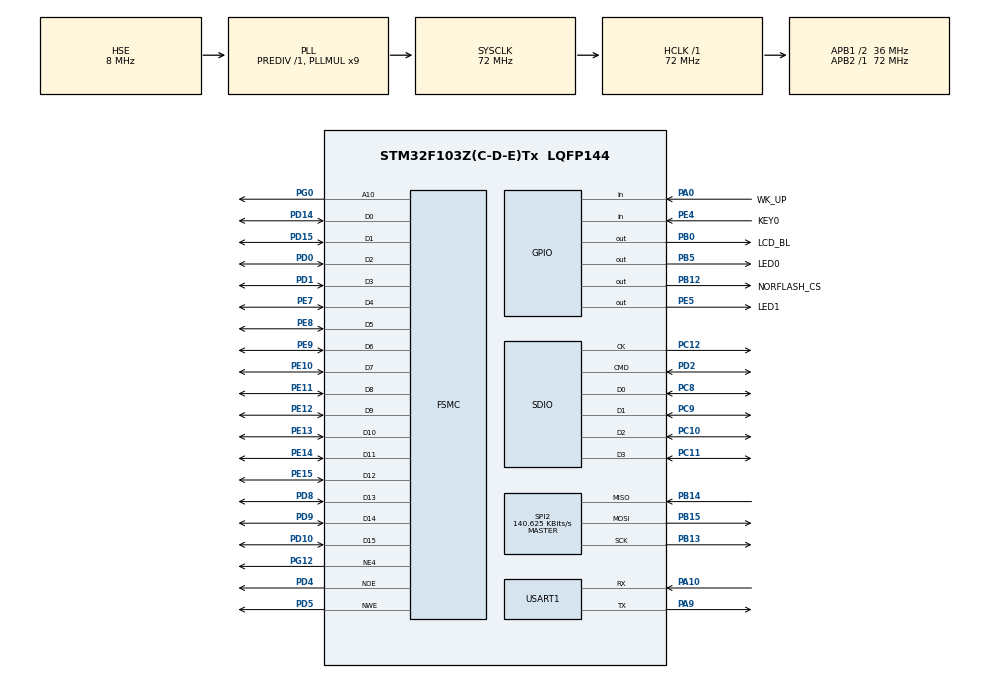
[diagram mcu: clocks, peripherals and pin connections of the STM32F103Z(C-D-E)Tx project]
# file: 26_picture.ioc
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FATFS._CODE_PAGE=936
FATFS._USE_LABEL=1
FATFS._USE_LFN=3
FSMC.AddressSetupTime1=0
FSMC.DataSetupTime1=15
FSMC.ExtendedAddressSetupTime1=0
FSMC.ExtendedDataSetupTime1=1
FSMC.ExtendedMode1=FSMC_EXTENDED_MODE_ENABLE
Mcu.Family=STM32F1
Mcu.Name=STM32F103Z(C-D-E)Tx
Mcu.Package=LQFP144
NVIC.PriorityGroup=NVIC_PRIORITYGROUP_2
NVIC.USART1_IRQn=true\:2\:2\:true\:false\:true\:true\:true\:true
OSC_IN.Mode=HSE-External-Oscillator
OSC_IN.Signal=RCC_OSC_IN
OSC_OUT.Mode=HSE-External-Oscillator
OSC_OUT.Signal=RCC_OSC_OUT
PA0-WKUP.GPIO_Label=WK_UP
PA0-WKUP.GPIO_PuPd=GPIO_PULLDOWN
PA0-WKUP.Signal=GPIO_Input
PA10.Mode=Asynchronous
PA10.Signal=USART1_RX
PA13.Mode=Serial_Wire
PA13.Signal=SYS_JTMS-SWDIO
PA14.Mode=Serial_Wire
PA14.Signal=SYS_JTCK-SWCLK
PA9.Mode=Asynchronous
PA9.Signal=USART1_TX
PB0.GPIO_Label=LCD_BL
PB0.GPIO_PuPd=GPIO_PULLUP
PB0.GPIO_Speed=GPIO_SPEED_FREQ_HIGH
PB0.PinState=GPIO_PIN_SET
PB0.Signal=GPIO_Output
PB12.GPIO_Label=NORFLASH_CS
PB12.GPIO_PuPd=GPIO_PULLUP
PB12.GPIO_Speed=GPIO_SPEED_FREQ_HIGH
PB12.PinState=GPIO_PIN_SET
PB12.Signal=GPIO_Output
PB13.Mode=Full_Duplex_Master
PB13.Signal=SPI2_SCK
PB14.Mode=Full_Duplex_Master
PB14.Signal=SPI2_MISO
PB15.Mode=Full_Duplex_Master
PB15.Signal=SPI2_MOSI
PB5.GPIO_Label=LED0
PB5.GPIO_PuPd=GPIO_PULLDOWN
PB5.GPIO_Speed=GPIO_SPEED_FREQ_HIGH
PB5.PinState=GPIO_PIN_SET
PB5.Signal=GPIO_Output
PC10.Mode=SD_4_bits_Wide_bus
PC10.Signal=SDIO_D2
PC11.Mode=SD_4_bits_Wide_bus
PC11.Signal=SDIO_D3
PC12.Mode=SD_4_bits_Wide_bus
PC12.Signal=SDIO_CK
PC14-OSC32_IN.Mode=LSE-External-Oscillator
PC14-OSC32_IN.Signal=RCC_OSC32_IN
PC15-OSC32_OUT.Mode=LSE-External-Oscillator
PC15-OSC32_OUT.Signal=RCC_OSC32_OUT
PC8.Mode=SD_4_bits_Wide_bus
PC8.Signal=SDIO_D0
PC9.Mode=SD_4_bits_Wide_bus
PC9.Signal=SDIO_D1
PD0.Signal=FSMC_D2_DA2
PD1.Signal=FSMC_D3_DA3
PD10.Signal=FSMC_D15_DA15
PD14.Signal=FSMC_D0_DA0
PD15.Signal=FSMC_D1_DA1
PD2.Mode=SD_4_bits_Wide_bus
PD2.Signal=SDIO_CMD
PD4.Signal=FSMC_NOE
PD5.Signal=FSMC_NWE
PD8.Signal=FSMC_D13_DA13
PD9.Signal=FSMC_D14_DA14
PE10.Signal=FSMC_D7_DA7
PE11.Signal=FSMC_D8_DA8
PE12.Signal=FSMC_D9_DA9
PE13.Signal=FSMC_D10_DA10
PE14.Signal=FSMC_D11_DA11
PE15.Signal=FSMC_D12_DA12
PE4.GPIO_Label=KEY0
PE4.GPIO_PuPd=GPIO_PULLDOWN
PE4.Signal=GPIO_Input
PE5.GPIO_Label=LED1
PE5.GPIO_PuPd=GPIO_PULLDOWN
PE5.GPIO_Speed=GPIO_SPEED_FREQ_HIGH
PE5.PinState=GPIO_PIN_SET
PE5.Signal=GPIO_Output
PE7.Signal=FSMC_D4_DA4
PE8.Signal=FSMC_D5_DA5
PE9.Signal=FSMC_D6_DA6
PG0.Signal=FSMC_A10
PG12.Mode=NorPsramChipSelect4_1
PG12.Signal=FSMC_NE4
ProjectManager.HeapSize=0x1000
ProjectManager.StackSize=0x400
ProjectManager.TargetToolchain=STM32CubeIDE
RCC.AHBFreq_Value=72000000
RCC.APB1CLKDivider=RCC_HCLK_DIV2
RCC.APB1Freq_Value=36000000
RCC.APB1TimFreq_Value=72000000
RCC.APB2Freq_Value=72000000
RCC.APB2TimFreq_Value=72000000
RCC.HCLKFreq_Value=72000000
RCC.PLLMUL=RCC_PLL_MUL9
RCC.PLLSourceVirtual=RCC_PLLSOURCE_HSE
RCC.SYSCLKFreq_VALUE=72000000
RCC.SYSCLKSource=RCC_SYSCLKSOURCE_PLLCLK
RCC.USBFreq_Value=72000000
SDIO.ClockDiv=0x06
SDIO.HardwareFlowControl=SDIO_HARDWARE_FLOW_CONTROL_ENABLE
SH.FSMC_A10.0=FSMC_A10,A10_1
SH.FSMC_D0_DA0.0=FSMC_D0,16b-d1
SH.FSMC_D10_DA10.0=FSMC_D10,16b-d1
SH.FSMC_D11_DA11.0=FSMC_D11,16b-d1
SH.FSMC_D12_DA12.0=FSMC_D12,16b-d1
SH.FSMC_D13_DA13.0=FSMC_D13,16b-d1
SH.FSMC_D14_DA14.0=FSMC_D14,16b-d1
SH.FSMC_D15_DA15.0=FSMC_D15,16b-d1
SH.FSMC_D1_DA1.0=FSMC_D1,16b-d1
SH.FSMC_D2_DA2.0=FSMC_D2,16b-d1
SH.FSMC_D3_DA3.0=FSMC_D3,16b-d1
SH.FSMC_D4_DA4.0=FSMC_D4,16b-d1
SH.FSMC_D5_DA5.0=FSMC_D5,16b-d1
SH.FSMC_D6_DA6.0=FSMC_D6,16b-d1
SH.FSMC_D7_DA7.0=FSMC_D7,16b-d1
SH.FSMC_D8_DA8.0=FSMC_D8,16b-d1
SH.FSMC_D9_DA9.0=FSMC_D9,16b-d1
SH.FSMC_NOE.0=FSMC_NOE,Lcd1
SH.FSMC_NWE.0=FSMC_NWE,Lcd1
SPI2.BaudRatePrescaler=SPI_BAUDRATEPRESCALER_256
SPI2.CLKPhase=SPI_PHASE_2EDGE
SPI2.CLKPolarity=SPI_POLARITY_HIGH
SPI2.CalculateBaudRate=140.625 KBits/s
SPI2.Direction=SPI_DIRECTION_2LINES
SPI2.Mode=SPI_MODE_MASTER
SPI2.VirtualType=VM_MASTER
USART1.VirtualMode=VM_ASYNC
VP_FATFS_VS_Generic.Mode=User_defined
board=custom

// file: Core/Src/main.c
/* USER CODE BEGIN Header */
/**
 ****************************************************************************************************
 * @file        main.c
 * @author      ALIENTEK
 * @brief       picture code
 * @license     Copyright (C) 2012-2024, ALIENTEK
 ****************************************************************************************************
 * @attention
 *
 * platform     : ALIENTEK M144-STM32F103 board
 * website      : www.alientek.com
 * forum        : www.openedv.com/forum.php
 *
 * change logs  :
 * version      data         notes
 * V1.0         20240410     the first version
 *
 ****************************************************************************************************
 */
/* USER CODE END Header */
#include "main.h"
#include "fatfs.h"
#include "sdio.h"
#include "spi.h"
#include "usart.h"
#include "gpio.h"
#include "fsmc.h"

/* USER CODE BEGIN Includes */
#include "../../BSP/LED/led.h"
#include "../../BSP/KEY/key.h"
#include "../../BSP/LCD/lcd.h"
#include "../../SYSTEM/delay/delay.h"
#include "../../BSP/NORFLASH/norflash.h"
#include "../../ATK_Middlewares/MALLOC/malloc.h"
#include "../../FatFs/exfuns/exfuns.h"
#include "ff.h"
/* USER CODE END Includes */

void SystemClock_Config(void);

/* USER CODE BEGIN 0 */

/**
 * @brief   Gets the number of valid image files in the specified path
 * @param   path : Specifies the path
 * @retval  The number of valid image files
 */
static uint16_t pic_get_tnum(char *path)
{
    uint8_t res;
    uint16_t rval = 0;
    DIR tdir;
    FILINFO *tfileinfo;

    /* Request memory and open the directory */
    tfileinfo = (FILINFO *)mymalloc(SRAMIN, sizeof(FILINFO));
    res = (uint8_t)f_opendir(&tdir, (const TCHAR *)path);
    if ((res == 0) && tfileinfo)
    {
        while (1)
        {
            res = (uint8_t)f_readdir(&tdir, tfileinfo);
            if ((res != 0) || (tfileinfo->fname[0] == 0))
            {
                break;
            }

            /* Check if it is an image file */
            res = exfuns_file_type(tfileinfo->fname);
            if ((res & 0xF0) == 0x50)
            {
                rval++;
            }
        }
    }

    /* free the memory */
    myfree(SRAMIN, tfileinfo);

    return rval;
}

/* USER CODE END 0 */

int main(void)
{
  /* USER CODE BEGIN 1 */
    uint8_t t = 0;
    uint8_t key;
    uint8_t res;
    DIR picdir;
    uint16_t totpicnum;
    FILINFO *picfileinfo;
    char *pname;
    uint32_t *picoffsettbl;
    uint16_t curindex;
    uint16_t temp;
  /* USER CODE END 1 */

  /* MCU Configuration--------------------------------------------------------*/

  /* Reset of all peripherals, Initializes the Flash interface and the Systick. */
  HAL_Init();

  /* Configure the system clock */
  SystemClock_Config();

  /* Initialize all configured peripherals */
  MX_GPIO_Init();
  MX_USART1_UART_Init();
  MX_FSMC_Init();
  MX_SDIO_SD_Init();
  MX_SPI2_Init();
  MX_FATFS_Init();
  /* USER CODE BEGIN 2 */

  lcd_init();
  my_mem_init(SRAMIN);                /* Initialize the internal SRAM memory pool */
  exfuns_init();                      /* Request memory for exfuns */
  f_mount(fs[0], "0:", 1);            /* mount SD card */
  f_mount(fs[1], "1:", 1);            /* mount NOR Flash */

  lcd_show_string(30, 30, 200, 16, 16, "STM32", RED);
  lcd_show_string(30, 50, 200, 16, 16, "PICTURE TEST", RED);
  lcd_show_string(30, 70, 200, 16, 16, "ATOM@ALIENTEK", RED);
  lcd_show_string(30, 90, 200, 16, 16, "WKUP: PREV", RED);
  lcd_show_string(30, 110, 200, 16, 16, "KEY0: NEXT", RED);

  while (sd_init() != 0)
  /* Open the images folder */
  while (f_opendir(&picdir, "0:/PICTURE") != FR_OK)
  {
    lcd_show_string(30, 130, 200, 16, 16, "PICTURE folder error!", RED);
    delay_ms(200);
    lcd_fill(30, 130, 200, 16, WHITE);
    delay_ms(200);
  }

  /* Get the number of valid image files */
  totpicnum = pic_get_tnum("0:/PICTURE");
  while (totpicnum == 0)
  {
    lcd_show_string(30, 130, 200, 16, 16, "No pictures!", RED);
    delay_ms(200);
    lcd_fill(30, 130, 200, 16, WHITE);
    delay_ms(200);
  }

  /* request memory */
  picfileinfo = (FILINFO *)mymalloc(SRAMIN, sizeof(FILINFO));
  pname = (char *)mymalloc(SRAMIN, _MAX_LFN * 2 + 1);
  picoffsettbl = (uint32_t *)mymalloc(SRAMIN, 4 * totpicnum);
  while ((picfileinfo == NULL) || (pname == NULL) || (picoffsettbl == NULL))
  {
    lcd_show_string(30, 130, 200, 16, 16, "Memory allocation failure!", RED);
    delay_ms(200);
    lcd_fill(30, 130, 200, 16, WHITE);
    delay_ms(200);
  }

  /* Open the directory and record the image index */
  res = (uint8_t)f_opendir(&picdir, "0:/PICTURE");
  if (res == 0)
  {
    curindex = 0;
    while (1)
    {
      temp = picdir.index;
      res = (uint8_t)f_readdir(&picdir, picfileinfo);
      if ((res != 0) || (picfileinfo->fname[0] == 0))
      {
        break;
      }

      res = exfuns_file_type(picfileinfo->fname);
      if ((res & 0xF0) == 0x50)
      {
        picoffsettbl[curindex] = temp;
        curindex++;
      }
    }
  }

  /* Start displaying images */
  lcd_show_string(30, 130, 200, 16, 16, "Start display...", RED);

  delay_ms(1500);
  piclib_init();
  curindex = 0;
  res = (uint8_t)f_opendir(&picdir, (const TCHAR *)"0:/PICTURE");
  while (res == 0)
  {
    /* Get the next image file information */
    dir_sdi(&picdir, picoffsettbl[curindex]);
    res = (uint8_t)f_readdir(&picdir, picfileinfo);
    if ((res != 0) || (picfileinfo->fname[0] == 0))
    {
      break;
    }

    /* Display images according to the image path */
    strcpy((char *)pname, "0:/PICTURE/");
    strcat((char *)pname, (const char *)picfileinfo->fname);
    lcd_clear(BLACK);
    piclib_ai_load_picfile(pname, 0, 0, lcddev.width, lcddev.height, 1);
    lcd_show_string(2, 2, lcddev.width, 16, 16, (char *)pname, RED);

    while (1)
    {
      key = key_scan(0);
      if (key == KEY0_PRES)
      {
        /* Switch to the previous screen */
        if (curindex != 0)
        {
          curindex--;
        }
        else
        {
          curindex = totpicnum - 1;
        }
        break;
      }
      else if (key == WKUP_PRES)
      {
        /* Switch to the next screen */
        curindex++;
        if (curindex >= totpicnum)
        {
          curindex = 0;
        }
        break;
      }

      if (++t == 20)
      {
        t = 0;
        LED0_TOGGLE();
      }

      delay_ms(10);
    }
  }

  /* free the memory */
  myfree(SRAMIN, picfileinfo);
  myfree(SRAMIN, pname);
  myfree(SRAMIN, picoffsettbl);

  /* USER CODE END 2 */

  /* Infinite loop */
  while (1)
  {

  }
}

void SystemClock_Config(void)
{
  RCC_OscInitTypeDef RCC_OscInitStruct = {0};
  RCC_ClkInitTypeDef RCC_ClkInitStruct = {0};

  /** Initializes the RCC Oscillators according to the specified parameters
  * in the RCC_OscInitTypeDef structure.
  */
  RCC_OscInitStruct.OscillatorType = RCC_OSCILLATORTYPE_HSE;
  RCC_OscInitStruct.HSEState = RCC_HSE_ON;
  RCC_OscInitStruct.HSEPredivValue = RCC_HSE_PREDIV_DIV1;
  RCC_OscInitStruct.HSIState = RCC_HSI_ON;
  RCC_OscInitStruct.PLL.PLLState = RCC_PLL_ON;
  RCC_OscInitStruct.PLL.PLLSource = RCC_PLLSOURCE_HSE;
  RCC_OscInitStruct.PLL.PLLMUL = RCC_PLL_MUL9;
  if (HAL_RCC_OscConfig(&RCC_OscInitStruct) != HAL_OK)
  {
    Error_Handler();
  }

  /** Initializes the CPU, AHB and APB buses clocks
  */
  RCC_ClkInitStruct.ClockType = RCC_CLOCKTYPE_HCLK|RCC_CLOCKTYPE_SYSCLK
                              |RCC_CLOCKTYPE_PCLK1|RCC_CLOCKTYPE_PCLK2;
  RCC_ClkInitStruct.SYSCLKSource = RCC_SYSCLKSOURCE_PLLCLK;
  RCC_ClkInitStruct.AHBCLKDivider = RCC_SYSCLK_DIV1;
  RCC_ClkInitStruct.APB1CLKDivider = RCC_HCLK_DIV2;
  RCC_ClkInitStruct.APB2CLKDivider = RCC_HCLK_DIV1;

  if (HAL_RCC_ClockConfig(&RCC_ClkInitStruct, FLASH_LATENCY_2) != HAL_OK)
  {
    Error_Handler();
  }
}

void Error_Handler(void)
{
  __disable_irq();
  while (1)
  {
  }
}
